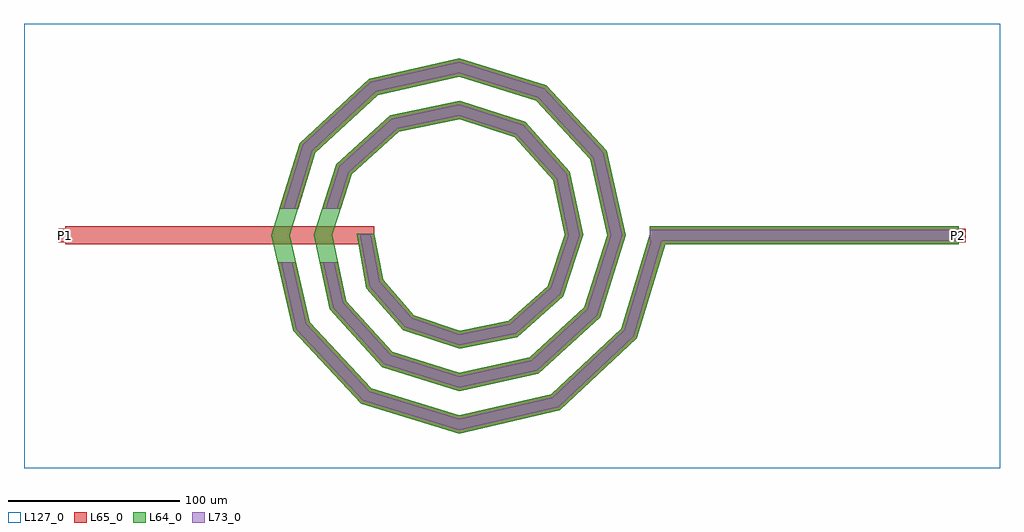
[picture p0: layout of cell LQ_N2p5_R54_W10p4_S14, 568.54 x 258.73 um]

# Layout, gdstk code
import gdstk
lib = gdstk.Library(unit=1e-6, precision=1e-09)
def R(c, l, rs):  # rectangles x0, y0, x1, y1
    for r in rs: c.add(gdstk.rectangle(r[:2], r[2:], *l))
def P(c, l, *ps):  # polygons
    for p in ps: c.add(gdstk.Polygon(p, *l))
L64_0 = (64, 0)
L65_0 = (65, 0)
L73_0 = (73, 0)
L127_0 = (127, 0)

lq_n2p5_r54_w10p4_s14 = lib.new_cell('LQ_N2p5_R54_W10p4_S14')
R(lq_n2p5_r54_w10p4_s14, L64_0, [(111.123,-5.2,291.123,5.2)])
P(lq_n2p5_r54_w10p4_s14, L64_0, [(-44.249,-25.968),(-26.376,-46.387),(0.339,-55.417),(29.021,-49.609),(51.713,-29.489),(61.585,0.308),(54.966,32.08),(32.598,57.041),(0.282,67.754),(-35.143,60.321),(-62.372,35.702),(-73.924,0.26),(-65.674,-38.21),(-38.804,-67.705),(0.242,-80.093),(41.279,-71.026),(73.04,-41.903),(86.263,0.225),(76.376,44.35),(45.001,78.375),(0.211,92.432),(-47.423,81.726),(-83.712,48.097),(-98.602,0.199),(-87.075,-50.498),(-51.192,-89.049),(0.187,-104.772),(53.574,-92.424),(94.388,-54.286),(111.347,1.512),(121.298,-1.512),(103.527,-59.98),(58.635,-101.928),(0.187,-115.533),(-56.904,-98.178),(-96.589,-55.541),(-109.362,0.199),(-92.828,53.828),(-52.445,91.252),(0.211,103.192),(50.754,87.478),(85.914,49.348),(97.021,0.225),(82.126,-47.682),(46.249,-80.578),(0.242,-90.851),(-44.611,-76.774),(-75.243,-43.149),(-84.68,0.26),(-71.42,41.543),(-40.045,69.909),(0.282,78.509),(38.477,66.064),(64.577,36.938),(72.337,0.308),(60.705,-35.415),(33.827,-59.247),(0.339,-66.165),(-32.358,-55.344),(-53.919,-30.71),(-59.725,0.997),(-49.517,0.997)])
R(lq_n2p5_r54_w10p4_s14, L65_0, [(-229.421,-5.2,-49.421,5.2), (111.123,-5.2,291.123,5.2), (-233.421,-4,-225.421,4), (287.123,-4,295.123,4)])
P(lq_n2p5_r54_w10p4_s14, L65_0, [(-87.076,-50.498),(-51.192,-89.049),(0.188,-104.772),(53.574,-92.424),(94.388,-54.286),(111.347,1.512),(121.298,-1.512),(103.527,-59.98),(58.636,-101.928),(0.188,-115.533),(-56.904,-98.178),(-96.589,-55.541),(-105.742,-15.6),(-95.073,-15.6)],
  [(-65.674,-38.21),(-38.804,-67.705),(0.242,-80.093),(41.279,-71.026),(73.04,-41.903),(86.263,0.225),(76.376,44.35),(45.001,78.375),(0.211,92.432),(-47.423,81.726),(-83.712,48.097),(-93.731,15.6),(-104.614,15.6),(-92.828,53.828),(-52.445,91.252),(0.211,103.192),(50.754,87.478),(85.914,49.348),(97.021,0.225),(82.126,-47.682),(46.25,-80.578),(0.242,-90.851),(-44.611,-76.774),(-75.243,-43.149),(-81.232,-15.6),(-70.589,-15.6)],
  [(-26.376,-46.388),(0.339,-55.417),(29.021,-49.609),(51.713,-29.489),(61.585,0.308),(54.966,32.08),(32.597,57.041),(0.282,67.754),(-35.143,60.321),(-62.372,35.702),(-68.829,15.6),(-79.753,15.6),(-71.42,41.543),(-40.045,69.909),(0.282,78.509),(38.477,66.064),(64.577,36.938),(72.337,0.308),(60.705,-35.415),(33.827,-59.247),(0.339,-66.165),(-32.358,-55.344),(-53.919,-30.71),(-59.725,0.997),(-49.518,0.997),(-44.249,-25.968)])
R(lq_n2p5_r54_w10p4_s14, L73_0, [(111.123,-3.2,291.123,3.2)])
P(lq_n2p5_r54_w10p4_s14, L73_0, [(-88.905,-51.468),(-52.291,-90.805),(0.115,-106.841),(54.547,-94.252),(96.145,-55.381),(113.261,0.931),(119.384,0.931),(101.769,-58.885),(57.662,-100.1),(0.115,-113.464),(-55.805,-96.422),(-94.76,-54.571),(-103.69,-15.6),(-97.124,-15.6)],
  [(-67.514,-39.16),(-39.921,-69.449),(0.149,-82.162),(42.235,-72.863),(74.787,-43.015),(88.332,0.139),(78.211,45.312),(46.107,80.126),(0.13,94.501),(-48.389,83.558),(-85.465,49.199),(-95.824,15.6),(-102.521,15.6),(-91.075,52.726),(-51.48,89.42),(0.13,101.123),(49.648,85.727),(84.08,48.387),(94.952,0.139),(80.379,-46.571),(45.294,-78.741),(0.149,-88.782),(-43.494,-75.03),(-73.403,-42.199),(-79.185,-15.6),(-72.636,-15.6)],
  [(-27.527,-48.11),(0.209,-57.484),(29.945,-51.462),(53.442,-30.629),(63.653,0.19),(56.814,33.014),(33.728,58.776),(0.174,69.823),(-36.086,62.165),(-64.112,36.825),(-70.93,15.6),(-77.652,15.6),(-69.68,40.42),(-39.102,68.065),(0.174,76.441),(37.347,64.329),(62.729,36.004),(70.27,0.19),(58.976,-34.276),(32.903,-57.393),(0.209,-64.098),(-31.208,-53.621),(-52.06,-29.798),(-57.762,0.614),(-51.48,0.614),(-46.109,-26.88)])
R(lq_n2p5_r54_w10p4_s14, L127_0, [(-253.421,-135.533,315.123,123.192)])
lq_n2p5_r54_w10p4_s14.add(gdstk.Label('P2', (291.123,0), layer=65, texttype=0))
lq_n2p5_r54_w10p4_s14.add(gdstk.Label('P1', (-229.421,0), layer=65, texttype=0))
lq_n2p5_r54_w10p4_s14.add(gdstk.Label('P2', (295.123,0), layer=145, texttype=0))
lq_n2p5_r54_w10p4_s14.add(gdstk.Label('P1', (-233.421,0), layer=145, texttype=0))

lib.write_gds('LQ_N2p5_R54_W10p4_S14.gds')
